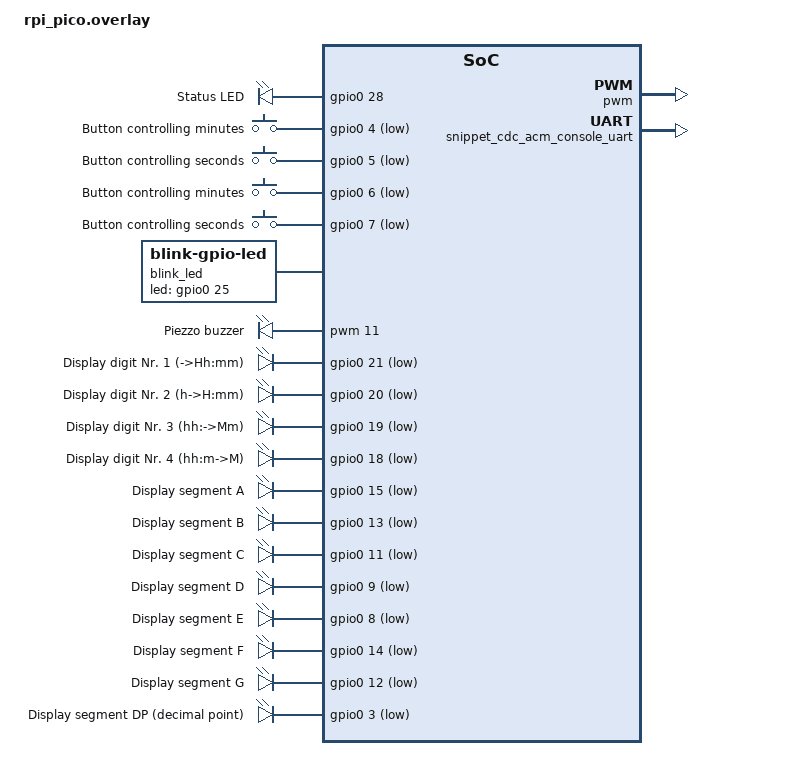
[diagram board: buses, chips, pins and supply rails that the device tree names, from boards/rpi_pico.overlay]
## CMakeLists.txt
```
#-------------------------------------------------------------------------------
# Zephyr Example Application
#
# Copyright (c) 2021 Nordic Semiconductor ASA
# SPDX-License-Identifier: Apache-2.0

cmake_minimum_required(VERSION 3.13.1)
find_package(Zephyr REQUIRED HINTS $ENV{ZEPHYR_BASE})
project(app LANGUAGES C)
target_sources(app PRIVATE src/main.c)
target_sources(app PRIVATE src/timer.c)
target_sources(app PRIVATE src/event_handler.c)
target_sources(app PRIVATE src/display_driver.c)
target_sources(app PRIVATE src/sound_player.c)
include_directories(${CMAKE_CURRENT_SOURCE_DIR}/src)
```

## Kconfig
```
# Copyright (c) 2021 Nordic Semiconductor ASA
# SPDX-License-Identifier: Apache-2.0
#
# This file is the application Kconfig entry point. All application Kconfig
# options can be defined here or included via other application Kconfig files.
# You can browse these options using the west targets menuconfig (terminal) or
# guiconfig (GUI).

menu "Zephyr"
source "Kconfig.zephyr"
# USB communication
config USB_PID_CONSOLE_SAMPLE
    hex
    default 0x0004
    depends on USB_DEVICE_STACK
config USB_DEVICE_PID
    default USB_PID_CONSOLE_SAMPLE
endmenu

# Display settings
menu "Display"
config DISPLAY_FPS
    int "Display frames per seconds"
    default 24
    help
        Defines the display fps (frames per second)
endmenu

# Sound settings
menu "Sound"
config SOUND_MSG_NUMBER
    int "Number of sound events that can be stored in queue"
    default 20
    help
        Number of sound events that can be stored in queue
endmenu

# Button settings
menu "Buttons"
config LONGPRESS_DURATION_MS
    int "Minimal longpress duration in ms"
    default 1000
    help
        Sets the minimal time required for longpress recognition
endmenu

# Logging modules
module = MAIN
module-str = main
source "subsys/logging/Kconfig.template.log_config"

module = EVENTS
module-str = events
source "subsys/logging/Kconfig.template.log_config"

module = DISPLAY
module-str = display
source "subsys/logging/Kconfig.template.log_config"

module = TIMER
module-str = timer
source "subsys/logging/Kconfig.template.log_config"

module = SOUND
module-str = sound
source "subsys/logging/Kconfig.template.log_config"
```

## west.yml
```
# Copyright (c) 2021 Nordic Semiconductor ASA
# SPDX-License-Identifier: Apache-2.0

manifest:
  self:
    west-commands: scripts/west-commands.yml

  remotes:
    - name: zephyrproject-rtos
      url-base: https://github.com/zephyrproject-rtos
    - name: kitchen_timer
      url-base: https://github.com/krystofh/kitchen_timer

  projects:
    - name: zephyr
      remote: zephyrproject-rtos
      revision: main
      import:
        # By using name-allowlist we can clone only the modules that are
        # strictly needed by the application.
        name-allowlist:
          - cmsis      # required by the ARM port
          - hal_nordic # required by the custom_plank board (Nordic based)
          - hal_stm32  # required by the nucleo_f302r8 board (STM32 based)
          - hal_rpi_pico # required by RP Pico
```

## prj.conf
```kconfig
# Copyright (c) 2021 Nordic Semiconductor ASA
# SPDX-License-Identifier: Apache-2.0
#
# This file contains selected Kconfig options for the application.

# User-defined
CONFIG_SOUND_MSG_NUMBER=20
CONFIG_DISPLAY_FPS=50
CONFIG_LONGPRESS_DURATION_MS=1000
# General
CONFIG_GPIO=y
# Enable logging in Zephyr
CONFIG_LOG=y                # Enable the logging subsystem
CONFIG_LOG_DEFAULT_LEVEL=3
# Enable pwm
CONFIG_PWM=y
# Configure USB communication and console
# VID=USB vendor ID, use a random number
CONFIG_USB_DEVICE_STACK=y
CONFIG_USB_DEVICE_PRODUCT="TimeUp kitchen timer"
CONFIG_USB_DEVICE_VID=0xFFFF
CONFIG_USB_DEVICE_PID=0x0001
CONFIG_SERIAL=y
CONFIG_CONSOLE=y
CONFIG_UART_CONSOLE=y
CONFIG_UART_LINE_CTRL=y
CONFIG_SHELL_BACKEND_SERIAL_CHECK_DTR=y
CONFIG_USB_CDC_ACM_LOG_LEVEL_OFF=y
CONFIG_USB_DEVICE_INITIALIZE_AT_BOOT=n

# Enable shell using minimal conf and overlay-usb.confss
CONFIG_PRINTK=y
CONFIG_SHELL=y
CONFIG_SHELL_STACK_SIZE=2048
CONFIG_SHELL_BACKEND_SERIAL=y
# Enable use of built-in shell commands such as clear etc.
CONFIG_SHELL_CMDS=y
# Enable use of tab for command completion
CONFIG_SHELL_TAB=y

# Threading
CONFIG_THREAD_MONITOR=y
CONFIG_INIT_STACKS=y
CONFIG_BOOT_BANNER=n
CONFIG_THREAD_NAME=y
CONFIG_CBPRINTF_NANO=y

# POSIX_TIMERS requires an embedded C library while the native USB driver is incompatible with it.
# So let's disable it. Once USB_NATIVE_POSIX supports embedded C libraries this can be removed.
CONFIG_POSIX_API=n
CONFIG_POSIX_TIMERS=n
# DATE_SHELL requires POSIX_TIMERS
CONFIG_DATE_SHELL=n
```

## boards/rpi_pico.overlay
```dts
/*
 * Copyright (c) 2021 Nordic Semiconductor ASA
 * SPDX-License-Identifier: Apache-2.0
 */

/* This devicetree overlay file will be automatically picked by the Zephyr
 * build system when building the sample for the RP Pico. It shows
 * how the example-application can be built on sample boards already provided
 * by Zephyr.
 */
/{
	aliases {
		btn0 = &button0; // Button A
		btn1 = &button1; // Button B
		btn2 = &button2; // Button C
		btn3 = &button3; // Button D
		led = &status_led;
		buzzer-dev = &buzzer;
	};

	leds{
		compatible = "gpio-leds";
		status_led:status-led{
			gpios = <&gpio0 28 GPIO_ACTIVE_HIGH>;
			label = "Status LED";
		};
	};

	buttons {
        compatible = "gpio-keys";  // Compatible with gpio-keys driver
		debounce-interval-ms = <50>;
        button0: button_a {
            gpios = < &gpio0 4 (GPIO_PULL_UP | GPIO_ACTIVE_LOW) >;
            label = "Button controlling minutes";
        };
		button1: button_b {
            gpios = < &gpio0 5 (GPIO_PULL_UP | GPIO_ACTIVE_LOW) >;
            label = "Button controlling seconds";
        };
		button2: button_c {
            gpios = < &gpio0 6 (GPIO_PULL_UP | GPIO_ACTIVE_LOW) >;
            label = "Button controlling minutes";
        };
		button3: button_d {
            gpios = < &gpio0 7 (GPIO_PULL_UP | GPIO_ACTIVE_LOW) >;
            label = "Button controlling seconds";
        };
    };

	blink_led: blink-led {
		compatible = "blink-gpio-led";
		led-gpios = <&gpio0 25 GPIO_ACTIVE_HIGH>; // built-in LED (unavailable on Pico W)
		blink-period-ms = <1000>;
	};

	pwmbuzzer {
		compatible = "pwm-leds";
		status = "ok";
		buzzer: buzzer_dev {
			pwms = <&pwm 11 PWM_HZ(880) PWM_POLARITY_NORMAL>;
			label = "Piezzo buzzer";
		};
	};

	display_digits{
		compatible = "gpio-leds";
		d1:d1{
			gpios = <&gpio0 21 GPIO_ACTIVE_LOW>; // active high since common anode display
			label = "Display digit Nr. 1 (->Hh:mm)";
		};
		d2:d2{
			gpios = <&gpio0 20 GPIO_ACTIVE_LOW>; 
			label = "Display digit Nr. 2 (h->H:mm)";
		};
		d3:d3{
			gpios = <&gpio0 19 GPIO_ACTIVE_LOW>;
			label = "Display digit Nr. 3 (hh:->Mm)";
		};
		d4:d4{
			gpios = <&gpio0 18 GPIO_ACTIVE_LOW>;
			label = "Display digit Nr. 4 (hh:m->M)";
		};
	};

	display_segments{
		compatible = "gpio-leds";
		sega:seg_a{
			gpios = <&gpio0 15 GPIO_ACTIVE_LOW>; // active low since common anode display
			label = "Display segment A";
		};
		segb:seg_b{
			gpios = <&gpio0 13 GPIO_ACTIVE_LOW>; 
			label = "Display segment B";
		};
		segc:seg_c{
			gpios = <&gpio0 11 GPIO_ACTIVE_LOW>;
			label = "Display segment C";
		};
		segd:seg_d{
			gpios = <&gpio0 9 GPIO_ACTIVE_LOW>;
			label = "Display segment D";
		};
		sege:seg_e{
			gpios = <&gpio0 8 GPIO_ACTIVE_LOW>;
			label = "Display segment E";
		};
		segf:seg_f{
			gpios = <&gpio0 14 GPIO_ACTIVE_LOW>;
			label = "Display segment F";
		};
		segg:seg_g{
			gpios = <&gpio0 12 GPIO_ACTIVE_LOW>;
			label = "Display segment G";
		};
		segdp:seg_dp{
			gpios = <&gpio0 3 GPIO_ACTIVE_LOW>;
			label = "Display segment DP (decimal point)";
		};
	};
};

&gpio0 {
	status = "okay";
};

// Edit the PWM division, based on example blinky_pwm for RP Pico
&pwm {
	status = "okay";
	divider-frac-4 = <15>;
	divider-int-4 = <255>;
};

/* Shell console using USB
*
*/
/ {
	chosen {
		zephyr,console = &snippet_cdc_acm_console_uart;
		zephyr,shell-uart = &snippet_cdc_acm_console_uart;
	};
};

&zephyr_udc0 {
	snippet_cdc_acm_console_uart: snippet_cdc_acm_console_uart {
		compatible = "zephyr,cdc-acm-uart";
	};
};
```

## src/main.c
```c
/*
 * Copyright (c) 2016 Intel Corporation
 *
 * SPDX-License-Identifier: Apache-2.0
 */

#include <stdio.h>
#include <string.h>
#include <stdlib.h>
#include <ctype.h>

// Zephyr-specific libs
#include <zephyr/kernel.h>
#include <zephyr/drivers/gpio.h>
#include <zephyr/logging/log.h>
#include <zephyr/sys/printk.h>
#include <zephyr/sys/util.h>
#include <zephyr/usb/usb_device.h>
#include <zephyr/drivers/uart.h>
#include <zephyr/drivers/pwm.h>
// Shell libs
#include <zephyr/kernel.h>
#include <zephyr/shell/shell.h>
#include <zephyr/version.h>

// Own code
#include "display_driver.h"
#include "timer.h"
#include "event_handler.h"
#include "sound_player.h"

/* 1000 msec = 1 sec */
#define SLEEP_TIME_MS 20
// Define the alias for the onboard LED
#define STATUS_LED_NODE DT_NODELABEL(status_led)
/*
 * Ensure that an overlay for USB serial has been defined.
 */
BUILD_ASSERT(DT_NODE_HAS_COMPAT(DT_CHOSEN(zephyr_console), zephyr_cdc_acm_uart),
			 "Console device is not ACM CDC UART device");

LOG_MODULE_REGISTER(main, CONFIG_MAIN_LOG_LEVEL); // registers the log level for the module MAIN specified in Kconfig

const struct gpio_dt_spec status_led = GPIO_DT_SPEC_GET(STATUS_LED_NODE, gpios); // onboard LED device
const struct pwm_dt_spec buzzer = PWM_DT_SPEC_GET(DT_ALIAS(buzzer_dev));		 // buzzer for sound

// initialise all LED devices
int init_leds()
{
	int ret;
	if (!gpio_is_ready_dt(&status_led))
	{
		return 1;
	}
	ret = gpio_pin_configure_dt(&status_led, GPIO_OUTPUT_ACTIVE);
	if (ret < 0)
	{
		return 1;
	}
	return 0;
}

int main(void)
{
	LOG_INF("Program starting\n"); // example info message

	// Init sound
	init_sound(&buzzer);

	// Init the LED devices in logic 1 state
	if (init_leds())
	{
		LOG_ERR("LEDs could not be initialised!");
	}
	else
	{
		LOG_INF("LED devices initialised properly");
	}

	// Shell config
	const struct device *dev;
	uint32_t dtr = 0;
	dev = DEVICE_DT_GET(DT_CHOSEN(zephyr_shell_uart));
	if (!device_is_ready(dev) || usb_enable(NULL))
	{
		return 0;
	}
	uart_line_ctrl_get(dev, UART_LINE_CTRL_DTR, &dtr);
	k_sleep(K_MSEC(100));
	LOG_INF("USB device configured and connected");

	// Button config
	if (init_buttons())
	{
		LOG_ERR("Button init failed!");
	}
	else
	{
		LOG_INF("Button init successful!");
	}

	// Display init
	if (init_display())
	{
		LOG_ERR("Display init failed!");
	}
	else
	{
		LOG_INF("Display init successful!");
	}

	// Wait in this loop for shell commands or process messages
	while (true)
	{
		/* If we have an LED, match its state to the button's. */
		k_msleep(SLEEP_TIME_MS); /* sleep x ms*/
	}
	return 0;
}
```

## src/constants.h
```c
#ifndef CONSTANTS_H
#define CONSTANTS_H

#include <stdlib.h>

typedef struct time_t
{
    uint8_t minutes;
    uint8_t seconds;
};

#endif // CONSTANTS_H
```

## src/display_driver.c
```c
#include "display_driver.h"

#define STACK_SIZE 1024
#define DISP_THREAD_PRIORITY 5

LOG_MODULE_REGISTER(display, CONFIG_DISPLAY_LOG_LEVEL);

// Digits GPIO configuration (active high)
const struct gpio_dt_spec digit_1 = GPIO_DT_SPEC_GET(DT_NODELABEL(d1), gpios);
const struct gpio_dt_spec digit_2 = GPIO_DT_SPEC_GET(DT_NODELABEL(d2), gpios);
const struct gpio_dt_spec digit_3 = GPIO_DT_SPEC_GET(DT_NODELABEL(d3), gpios);
const struct gpio_dt_spec digit_4 = GPIO_DT_SPEC_GET(DT_NODELABEL(d4), gpios);

// Segment GPIO configuration (active low)
const struct gpio_dt_spec seg_a = GPIO_DT_SPEC_GET(DT_NODELABEL(sega), gpios);
const struct gpio_dt_spec seg_b = GPIO_DT_SPEC_GET(DT_NODELABEL(segb), gpios);
const struct gpio_dt_spec seg_c = GPIO_DT_SPEC_GET(DT_NODELABEL(segc), gpios);
const struct gpio_dt_spec seg_d = GPIO_DT_SPEC_GET(DT_NODELABEL(segd), gpios);
const struct gpio_dt_spec seg_e = GPIO_DT_SPEC_GET(DT_NODELABEL(sege), gpios);
const struct gpio_dt_spec seg_f = GPIO_DT_SPEC_GET(DT_NODELABEL(segf), gpios);
const struct gpio_dt_spec seg_g = GPIO_DT_SPEC_GET(DT_NODELABEL(segg), gpios);
const struct gpio_dt_spec seg_dp = GPIO_DT_SPEC_GET(DT_NODELABEL(segdp), gpios);

// Digits and segments
const struct gpio_dt_spec *digits[] = {&digit_1, &digit_2, &digit_3, &digit_4};
const struct gpio_dt_spec *segments[] = {&seg_a, &seg_b, &seg_c, &seg_d, &seg_e, &seg_f, &seg_g, &seg_dp};
// Buffer to store the current digits to display
uint8_t display_buffer[4] = {0, 0, 0, 0};

// Digit encoding
// 7-segment encoding for digits 0-9
const uint8_t digit_codes[10] = {
    0b00111111, // 0
    0b00000110, // 1
    0b01011011, // 2
    0b01001111, // 3
    0b01100110, // 4
    0b01101101, // 5
    0b01111101, // 6
    0b00000111, // 7
    0b01111111, // 8
    0b01101111  // 9
};

// Spawn thread
K_THREAD_DEFINE(display_refresh_tid, STACK_SIZE, display_refresh_thread, NULL, NULL, NULL,
                DISP_THREAD_PRIORITY, 0, 0);

// Initialize the display GPIOs
int init_display()
{
    int ret;

    // Configure digit GPIOs
    ret = gpio_pin_configure_dt(&digit_1, GPIO_OUTPUT_INACTIVE);
    if (ret != 0)
        return ret;

    ret = gpio_pin_configure_dt(&digit_2, GPIO_OUTPUT_INACTIVE);
    if (ret != 0)
        return ret;

    ret = gpio_pin_configure_dt(&digit_3, GPIO_OUTPUT_INACTIVE);
    if (ret != 0)
        return ret;

    ret = gpio_pin_configure_dt(&digit_4, GPIO_OUTPUT_INACTIVE);
    if (ret != 0)
        return ret;

    // Configure segment GPIOs
    ret = gpio_pin_configure_dt(&seg_a, GPIO_OUTPUT_INACTIVE);
    if (ret != 0)
        return ret;

    ret = gpio_pin_configure_dt(&seg_b, GPIO_OUTPUT_INACTIVE);
    if (ret != 0)
        return ret;

    ret = gpio_pin_configure_dt(&seg_c, GPIO_OUTPUT_INACTIVE);
    if (ret != 0)
        return ret;

    ret = gpio_pin_configure_dt(&seg_d, GPIO_OUTPUT_INACTIVE);
    if (ret != 0)
        return ret;

    ret = gpio_pin_configure_dt(&seg_e, GPIO_OUTPUT_INACTIVE);
    if (ret != 0)
        return ret;

    ret = gpio_pin_configure_dt(&seg_f, GPIO_OUTPUT_INACTIVE);
    if (ret != 0)
        return ret;

    ret = gpio_pin_configure_dt(&seg_g, GPIO_OUTPUT_INACTIVE);
    if (ret != 0)
        return ret;

    ret = gpio_pin_configure_dt(&seg_dp, GPIO_OUTPUT_INACTIVE);
    if (ret != 0)
        return ret;

    LOG_INF("Display initialized");
    return 0;
}

void display_refresh_thread()
{
    while (1)
    {
        for (uint8_t i = 0; i < ARRAY_SIZE(digits); i++)
        {
            display_digit(display_buffer[i], i);
            k_sleep(K_MSEC(1000 / (ARRAY_SIZE(digits) * CONFIG_DISPLAY_FPS))); // period [ms]
        }
    }
}

// Simple demo showing sequentially all segments on all digits
int display_demo()
{
    bool enable_shutdown = false;
    // Iterate through each digit in digits
    for (int i = 0; i < ARRAY_SIZE(digits); i++)
    {
        // Turn off all segemnts first
        for (int m = 0; m < ARRAY_SIZE(segments); m++)
        {
            gpio_pin_set_dt(segments[m], 0);
        }

        // Turn off all digits first to prevent ghosting
        for (int j = 0; j < ARRAY_SIZE(digits); j++)
        {
            gpio_pin_set_dt(digits[j], 0);
        }

        // Activate current digit
        int response = gpio_pin_set_dt(digits[i], 1);

        // Light up each segment (A to G, DP) sequentially
        response = gpio_pin_set_dt(&seg_a, 1); // try out segment A
        k_sleep(K_MSEC(1000));
        if (enable_shutdown)
        {
            gpio_pin_set_dt(&seg_a, 0);
        };
        response = gpio_pin_set_dt(&seg_b, 1); // try out segment
        k_sleep(K_MSEC(1000));
        if (enable_shutdown)
        {
            response = gpio_pin_set_dt(&seg_b, 0); // try out segment
        };
        response = gpio_pin_set_dt(&seg_c, 1); // try out segment
        k_sleep(K_MSEC(1000));
        if (enable_shutdown)
        {
            response = gpio_pin_set_dt(&seg_c, 0); // try out segment
        };
        response = gpio_pin_set_dt(&seg_d, 1); // try out segment
        k_sleep(K_MSEC(1000));
        if (enable_shutdown)
        {
            response = gpio_pin_set_dt(&seg_d, 0); // try out segment
        };
        response = gpio_pin_set_dt(&seg_e, 1); // try out segment
        k_sleep(K_MSEC(1000));
        if (enable_shutdown)
        {
            response = gpio_pin_set_dt(&seg_e, 0); // try out segment
        }
        response = gpio_pin_set_dt(&seg_f, 1); // try out segment
        k_sleep(K_MSEC(1000));
        if (enable_shutdown)
        {
            response = gpio_pin_set_dt(&seg_f, 0); // try out segment
        }
        response = gpio_pin_set_dt(&seg_g, 1); // try out segment
        k_sleep(K_MSEC(1000));
        if (enable_shutdown)
        {
            response = gpio_pin_set_dt(&seg_g, 0); // try out segment
        }
        response = gpio_pin_set_dt(&seg_dp, 1); // try out segment
        k_sleep(K_MSEC(1000));
        if (enable_shutdown)
        {
            response = gpio_pin_set_dt(&seg_dp, 0); // try out segment
        };
    }
    return 0;
}

// Display a diven digit
// index - 0 to 3,  HH:MM
void display_digit(uint8_t digit, uint8_t index)
{
    reset_display(); // make sure only one digit is displayed at a time
    // prepare the digit's index (select the 8-bit segment)
    gpio_pin_set_dt(digits[index], 1);
    // draw the digit
    uint8_t temp_bin = digit_codes[digit];             // binary representation of digit
    for (uint8_t i = 0; i < ARRAY_SIZE(segments); i++) // go through one segment (bit) after the other
    {
        gpio_pin_set_dt(segments[i], temp_bin % 2); // if the bit is 1 -> set the segment ACTIVE
        temp_bin = temp_bin >> 1;                   // right shift after the bit is processed
    }
}

// Set the value to be displayed on the 4-digit display
void set_display_value(uint16_t value)
{
    // Convert the integer value to individual digits
    display_buffer[0] = (value / 1000) % 10;
    display_buffer[1] = (value / 100) % 10;
    display_buffer[2] = (value / 10) % 10;
    display_buffer[3] = value % 10;
}

// Checks if number is valid and sets it to the buffer for being regurarly refreshed
void display_number(uint16_t number)
{
    if (number < 10000)
    {
        set_display_value(number);
    }
    else
    {
        LOG_ERR("Can't display numbers > 9999");
    }
}

void display_time(timevar_t *displayed_time)
{
    LOG_INF("Setting time to: %d : %d ", displayed_time->minutes, displayed_time->seconds);
    set_display_value(displayed_time->minutes * 100 + displayed_time->seconds);
}

// Reset (set INACTIVE) all segments of the current position(s)
void reset_segments(void)
{
    for (uint8_t i = 0; i < ARRAY_SIZE(segments); i++) // go through one segment (bit) after the other
    {
        gpio_pin_set_dt(segments[i], 0);
    }
}

// Reset (set INACTIVE) all digits (positions)
void reset_display()
{
    reset_segments();
    for (uint8_t i = 0; i < ARRAY_SIZE(digits); i++)
    {
        gpio_pin_set_dt(digits[i], 0);
    }
}
```

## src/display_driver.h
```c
#ifndef DISPLAY_DRIVER_H
#define DISPLAY_DRIVER_H

#include <zephyr/kernel.h>
#include <zephyr/drivers/gpio.h>
#include <zephyr/shell/shell.h>
#include <zephyr/logging/log.h>
#include <stdlib.h>
#include "timer.h"

#define DIGIT_DISPLAY_TIME_MS 5 // Time to display each digit

extern const struct gpio_dt_spec digit_1;
extern const struct gpio_dt_spec digit_2;
extern const struct gpio_dt_spec digit_3;
extern const struct gpio_dt_spec digit_4;

// Segment GPIO configuration (active low)
extern const struct gpio_dt_spec seg_a;
extern const struct gpio_dt_spec seg_b;
extern const struct gpio_dt_spec seg_c;
extern const struct gpio_dt_spec seg_d;
extern const struct gpio_dt_spec seg_e;
extern const struct gpio_dt_spec seg_f;
extern const struct gpio_dt_spec seg_g;
extern const struct gpio_dt_spec seg_dp;

// Digits and segments
extern const struct gpio_dt_spec *digits[];
extern const struct gpio_dt_spec *segments[];
extern uint8_t display_buffer[];

// Functions
int init_display(void);
void display_refresh_thread(void);
int display_demo(void);
void display_digit(uint8_t number, uint8_t index);
void set_display_value(uint16_t value);
void display_number(uint16_t number);
void display_time(timevar_t *displayed_time);
void reset_segments(void);
void reset_display(void);

#endif // DISPLAY_DRIVER_H
```

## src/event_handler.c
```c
#include "event_handler.h"

#define DEBOUNCE_TIME_MS 15                            // Debouncing delay in milliseconds
LOG_MODULE_REGISTER(events, CONFIG_LOG_DEFAULT_LEVEL); // Registers the log level for the module

/*
 * Get button configuration from the devicetree alias. This is mandatory.
 */
const struct gpio_dt_spec button_a = GPIO_DT_SPEC_GET_OR(BTN_A_NODE, gpios,
                                                         {0});
const struct gpio_dt_spec button_b = GPIO_DT_SPEC_GET_OR(BTN_B_NODE, gpios,
                                                         {0});
const struct gpio_dt_spec button_c = GPIO_DT_SPEC_GET_OR(BTN_C_NODE, gpios,
                                                         {0});
const struct gpio_dt_spec button_d = GPIO_DT_SPEC_GET_OR(BTN_D_NODE, gpios,
                                                         {0});
struct gpio_callback button_a_cb_data;
struct gpio_callback button_b_cb_data;
struct gpio_callback button_c_cb_data;
struct gpio_callback button_d_cb_data;

static struct k_work_delayable button_a_work;
static struct k_work_delayable button_b_work;
static struct k_work_delayable button_c_work;
static struct k_work_delayable button_d_work;

static struct k_work_delayable longpress_a_work;
static struct k_work_delayable longpress_b_work;
static struct k_work_delayable longpress_c_work;
static struct k_work_delayable longpress_d_work;

/*
 * Array of button structures for all the buttons to be initialized programmatically.
 */
struct button buttons[] = {
    {&button_a, &button_a_cb_data, button_a_isr, "A"},
    {&button_b, &button_b_cb_data, button_b_isr, "B"},
    {&button_c, &button_c_cb_data, button_c_isr, "C"},
    {&button_d, &button_d_cb_data, button_d_isr, "D"}};

// Button A actions on press or release after debounce
static void button_work_a_handler(struct k_work *work)
{
    ARG_UNUSED(work);
    int val = gpio_pin_get_dt(&button_a);
    enum button_evt evt = val ? BUTTON_EVT_PRESSED : BUTTON_EVT_RELEASED;
    // Onpress of debounced button A
    if (evt == BUTTON_EVT_PRESSED)
    {
        play_sound(CLICK_SOUND, 1);
        LOG_INF("Button A pressed at %lld ms", k_uptime_get());
        timer_state current_state = get_state();
        switch (current_state)
        {
        case SLEEPING:
            LOG_INF("Exiting sleep mode. Setting minutes now.");
            set_state(SET_MINUTES);
            inc_minutes();
            break;
        case SET_SECONDS:
            inc_seconds();
            break;
        case SET_MINUTES:
            inc_minutes();
            break;
        case ALARM:
            stop_alarm(); // stops alarm sound on button press
            break;
        default:
            break;
        }
        LOG_INF("Current state: %d", current_state);
        k_work_reschedule(&longpress_a_work, K_MSEC(CONFIG_LONGPRESS_DURATION_MS));
    }
    else
    {
        k_work_cancel_delayable(&longpress_a_work); // on release, clear longpress queue
    }
}

static void longpress_a_work_handler(struct k_work *work)
{
    LOG_INF("long press A detected");
}

// Interrupt service routine for BUTTON A (+)
void button_a_isr(const struct device *dev, struct gpio_callback *cb,
                  uint32_t pins)
{
    // Check if work queue has some pending work (button already being debounced)
    if (k_work_delayable_is_pending(&button_a_work))
    {
        // Cancel ongoing work and reschedule debounce timer to debounce
        k_work_cancel_delayable(&button_a_work);
    }
    // Reschedule debounce work for x ms
    k_work_reschedule(&button_a_work, K_MSEC(DEBOUNCE_TIME_MS));
}

// Button B actions on press or release after debounce
static void button_work_b_handler(struct k_work *work)
{
    ARG_UNUSED(work);
    int val = gpio_pin_get_dt(&button_b);
    enum button_evt evt = val ? BUTTON_EVT_PRESSED : BUTTON_EVT_RELEASED;
    // Onpress of debounced button B
    if (evt == BUTTON_EVT_PRESSED)
    {
        play_sound(CLICK_SOUND, 1);
        LOG_INF("Button B pressed at %lld ms", k_uptime_get());
        timer_state current_state = get_state();
        switch (current_state)
        {
        case SLEEPING:
            LOG_INF("Exiting sleep mode. Setting minutes now.");
            set_state(SET_MINUTES);
            dec_minutes();
            break;
        case SET_SECONDS:
            dec_seconds();
            break;
        case SET_MINUTES:
            dec_minutes();
            break;
        case ALARM:
            stop_alarm(); // stops alarm sound on button press
            break;
        default:
            break;
        }
        LOG_INF("Current state: %d", current_state);
        k_work_reschedule(&longpress_b_work, K_MSEC(CONFIG_LONGPRESS_DURATION_MS));
    }
    else
    {
        k_work_cancel_delayable(&longpress_b_work); // on release, clear longpress queue
    }
}

static void longpress_b_work_handler(struct k_work *work)
{
    LOG_INF("long press B detected");
}

// Interrupt service routine for BUTTON B (-)
void button_b_isr(const struct device *dev, struct gpio_callback *cb,
                  uint32_t pins)
{
    // Check if work queue has some pending work (button already being debounced)
    if (k_work_delayable_is_pending(&button_b_work))
    {
        // Cancel ongoing work and reschedule debounce timer to debounce
        k_work_cancel_delayable(&button_b_work);
    }
    // Reschedule debounce work for x ms
    k_work_reschedule(&button_b_work, K_MSEC(DEBOUNCE_TIME_MS));
}

// Button C actions on press or release after debounce
static void button_work_c_handler(struct k_work *work)
{
    ARG_UNUSED(work);
    int val = gpio_pin_get_dt(&button_c);
    enum button_evt evt = val ? BUTTON_EVT_PRESSED : BUTTON_EVT_RELEASED;
    // Onpress of debounced button C
    if (evt == BUTTON_EVT_PRESSED)
    {
        LOG_INF("Button C pressed at %lld ms", k_uptime_get());
        timer_state current_state = get_state();
        switch (current_state)
        {
        case ALARM:
            stop_alarm(); // stops alarm sound on button press
            break;
        case COUNTDOWN:
            stop_timer(); // pause timer
            break;
        case SLEEPING:
            run_timer();
            break;
        default:
            run_timer(); // start timer
            break;
        }
        LOG_INF("Current state: %d", current_state);
        k_work_reschedule(&longpress_c_work, K_MSEC(CONFIG_LONGPRESS_DURATION_MS));
    }
    else
    {
        k_work_cancel_delayable(&longpress_c_work); // on release, clear longpress queue
    }
}

// On long press of button C
static void longpress_c_work_handler(struct k_work *work)
{
    reset_time();
}

// Interrupt service routine for BUTTON C
void button_c_isr(const struct device *dev, struct gpio_callback *cb,
                  uint32_t pins)
{
    // Check if work queue has some pending work (button already being debounced)
    if (k_work_delayable_is_pending(&button_c_work))
    {
        // Cancel ongoing work and reschedule debounce timer to debounce
        k_work_cancel_delayable(&button_c_work);
    }
    // Reschedule debounce work for x ms
    k_work_reschedule(&button_c_work, K_MSEC(DEBOUNCE_TIME_MS));
}

// Button D actions on press or release after debounce
static void button_work_d_handler(struct k_work *work)
{
    ARG_UNUSED(work);
    int val = gpio_pin_get_dt(&button_d);
    enum button_evt evt = val ? BUTTON_EVT_PRESSED : BUTTON_EVT_RELEASED;
    // Onpress of debounced button D
    if (evt == BUTTON_EVT_PRESSED)
    {
        play_sound(MODE_SOUND, 1);
        LOG_INF("Button D pressed at %lld ms", k_uptime_get());
        timer_state current_state = get_state();
        switch (current_state)
        {
        case SLEEPING:
            LOG_INF("Exiting sleep mode. Setting seconds now.");
            set_state(SET_SECONDS);
            break;
        case SET_SECONDS:
            LOG_INF("Setting minutes now.");
            set_state(SET_MINUTES);
            break;
        case SET_MINUTES:
            LOG_INF("Setting seconds now.");
            set_state(SET_SECONDS);
            break;
        case ALARM:
            stop_alarm(); // stops alarm sound on button press
            break;
        default:
            break;
        }
        LOG_INF("Current state: %d", current_state);
        k_work_reschedule(&longpress_d_work, K_MSEC(CONFIG_LONGPRESS_DURATION_MS));
    }
    else
    {
        k_work_cancel_delayable(&longpress_d_work); // on release, clear longpress queue
    }
}

static void longpress_d_work_handler(struct k_work *work)
{
    LOG_INF("long press D detected");
}

// Interrupt service routine for BUTTON D
void button_d_isr(const struct device *dev, struct gpio_callback *cb,
                  uint32_t pins)
{
    // Check if work queue has some pending work (button already being debounced)
    if (k_work_delayable_is_pending(&button_d_work))
    {
        // Cancel ongoing work and reschedule debounce timer to debounce
        k_work_cancel_delayable(&button_d_work);
    }
    // Reschedule debounce work for x ms
    k_work_reschedule(&button_d_work, K_MSEC(DEBOUNCE_TIME_MS));
}

// Generalized function to initialize a button
int init_button(const struct button *btn)
{
    int ret;
    if (!gpio_is_ready_dt(btn->spec))
    {
        LOG_ERR("Error: button device %s is not ready", btn->spec->port->name);
        return 1;
    }

    ret = gpio_pin_configure_dt(btn->spec, GPIO_INPUT);
    if (ret != 0)
    {
        LOG_ERR("Error %d: failed to configure %s pin %d", ret, btn->spec->port->name, btn->spec->pin);
        return 1;
    }

    ret = gpio_pin_interrupt_configure_dt(btn->spec, GPIO_INT_EDGE_BOTH);
    if (ret != 0)
    {
        LOG_ERR("Error %d: failed to configure interrupt on %s pin %d", ret, btn->spec->port->name, btn->spec->pin);
        return 1;
    }

    gpio_init_callback(btn->cb_data, btn->cb_handler, BIT(btn->spec->pin));
    gpio_add_callback(btn->spec->port, btn->cb_data);
    LOG_INF("Set up button at %s pin %d", btn->spec->port->name, btn->spec->pin);
    return 0;
}

// Initialise buttons
int init_buttons(void)
{
    int ret = 0;
    for (size_t i = 0; i < ARRAY_SIZE(buttons); i++)
    {
        ret = init_button(&buttons[i]);
        if (ret != 0)
        {
            LOG_ERR("Button initialization failed for button %zu", i);
        }
    }

    // Init works
    k_work_init_delayable(&button_a_work, button_work_a_handler);
    k_work_init_delayable(&button_b_work, button_work_b_handler);
    k_work_init_delayable(&button_c_work, button_work_c_handler);
    k_work_init_delayable(&button_d_work, button_work_d_handler);

    k_work_init_delayable(&longpress_a_work, longpress_a_work_handler);
    k_work_init_delayable(&longpress_b_work, longpress_b_work_handler);
    k_work_init_delayable(&longpress_c_work, longpress_c_work_handler);
    k_work_init_delayable(&longpress_d_work, longpress_d_work_handler);

    return ret;
}
```

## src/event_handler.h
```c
#ifndef EVENT_HANDLER_H
#define EVENT_HANDLER_H

#include <zephyr/kernel.h>
#include <zephyr/device.h>
#include <zephyr/drivers/gpio.h>
#include <zephyr/sys/util.h>
#include <zephyr/sys/printk.h>
#include <zephyr/logging/log.h>
#include <inttypes.h>

#include "timer.h"
#include "sound_player.h"

#define BTN_A_NODE DT_ALIAS(btn0)
#if !DT_NODE_HAS_STATUS_OKAY(BTN_A_NODE)
#error "Unsupported board: btn0 devicetree alias is not defined"
#endif
#define BTN_B_NODE DT_ALIAS(btn1)
#if !DT_NODE_HAS_STATUS_OKAY(BTN_B_NODE)
#error "Unsupported board: btn1 devicetree alias is not defined"
#endif
#define BTN_C_NODE DT_ALIAS(btn2)
#if !DT_NODE_HAS_STATUS_OKAY(BTN_C_NODE)
#error "Unsupported board: btn2 devicetree alias is not defined"
#endif
#define BTN_D_NODE DT_ALIAS(btn3)
#if !DT_NODE_HAS_STATUS_OKAY(BTN_D_NODE)
#error "Unsupported board: btn3 devicetree alias is not defined"
#endif

enum button_evt
{
    BUTTON_EVT_PRESSED,
    BUTTON_EVT_RELEASED
};

/*
 * Button structure to hold the GPIO configuration and callback data.
 */
struct button
{
    const struct gpio_dt_spec *spec;    // GPIO spec from device tree
    struct gpio_callback *cb_data;      // Callback structure
    gpio_callback_handler_t cb_handler; // Callback function
    const char *label;                  // Button label (e.g., "Button A")
};

extern const struct gpio_dt_spec button_a;
extern struct gpio_callback button_a_cb_data;
extern const struct gpio_dt_spec button_b;
extern struct gpio_callback button_b_cb_data;
extern const struct gpio_dt_spec button_c;
extern struct gpio_callback button_c_cb_data;
extern const struct gpio_dt_spec button_d;
extern struct gpio_callback button_d_cb_data;

// Function declarations

static void button_work_a_handler(struct k_work *work);
static void button_work_b_handler(struct k_work *work);
static void button_work_c_handler(struct k_work *work);
static void button_work_d_handler(struct k_work *work);

static void longpress_a_work_handler(struct k_work *work);
static void longpress_b_work_handler(struct k_work *work);
static void longpress_c_work_handler(struct k_work *work);
static void longpress_d_work_handler(struct k_work *work);

void button_a_isr(const struct device *dev, struct gpio_callback *cb, uint32_t pins);
void button_b_isr(const struct device *dev, struct gpio_callback *cb,
                  uint32_t pins);
void button_c_isr(const struct device *dev, struct gpio_callback *cb,
                  uint32_t pins);
void button_d_isr(const struct device *dev, struct gpio_callback *cb,
                  uint32_t pins);
int init_buttons(void);

#endif // EVENT_HANDLER_H
```

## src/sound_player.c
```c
#include "sound_player.h"
#include "tones.h" // for music notation

#define SOUND_STACK 1024
#define SOUND_THREAD_PRIORITY 7 // low priority

LOG_MODULE_REGISTER(sound, CONFIG_LOG_DEFAULT_LEVEL); // Registers the log level for the module

// Speaker (PWM device) used globally
static const struct pwm_dt_spec *speaker;

// Sounds
const int click_notes[] = {A5, 0};
const int click_durations[] = {100, 50};
const int confirm_notes[] = {A4, A5};
const int confirm_durations[] = {100, 100};
const int mode_notes[] = {D5, 0};
const int mode_durations[] = {100, 50};
const int alarm_notes[] = {A5, 0, A5, 0, A5, 0};
const int alarm_durations[] = {150, 150, 150, 150, 150, 150};
const int reset_notes[] = {A5, A4};
const int reset_durations[] = {100, 100};
const int stop_notes[] = {E4, 0};
const int stop_durations[] = {100, 50};

// Define message queue for handling sound events
K_MSGQ_DEFINE(sound_queue, CONFIG_SOUND_MSG_NUMBER, CONFIG_SOUND_MSG_NUMBER, 1); // sizeof(SoundEvent) 1 byte -> bytesize=number of messages

// Spawn thread for sound output
K_THREAD_DEFINE(sound_player_tid, SOUND_STACK, sound_processing_thread,
                NULL, NULL, NULL, SOUND_THREAD_PRIORITY, 0, 0);

// Define Sound structs for each sound
static const Sound sounds[] = {
    {click_notes, click_durations, sizeof(click_notes) / sizeof(click_notes[0])}, // SOUND_CLICK
    {confirm_notes, confirm_durations, sizeof(confirm_notes) / sizeof(confirm_durations[0])},
    {mode_notes, mode_durations, sizeof(mode_notes) / sizeof(mode_notes[0])},
    {alarm_notes, alarm_durations, sizeof(alarm_notes) / sizeof(alarm_notes[0])}, // SOUND_ALARM
    {reset_notes, reset_durations, sizeof(reset_notes) / sizeof(reset_notes[0])}, // SOUND_RESET
    {stop_notes, stop_durations, sizeof(stop_notes) / sizeof(stop_notes[0])},
};

void sound_processing_thread()
{
    SoundEvent sound_event;
    int ret_code;
    while (1)
    {
        ret_code = k_msgq_get(&sound_queue, &sound_event, K_FOREVER); // receive the sound message
        if (!ret_code)
        {
            Sound *sound = &sounds[sound_event.sound]; // init a pointer to the sound
            // Play sound
            play_tune(sound->notes, sound->note_durations, sound->length);
        }
        else
        {
            LOG_ERR("Error playing sound");
        }
        k_sleep(K_MSEC(100));
    }
}

void init_sound(const struct pwm_dt_spec *pwm_device)
{
    speaker = pwm_device;
    play_sound(CONFIRM_SOUND, 1);
}

void play_note(int frequency, int duration_ms)
{
    if (!frequency)
    {
        pwm_set_pulse_dt(speaker, 0); // turn off note
        k_sleep(K_MSEC(duration_ms));
    }
    else
    {
        pwm_set_dt(speaker, PWM_HZ(frequency), PWM_HZ(frequency) / 2U);
        k_sleep(K_MSEC(duration_ms));
        pwm_set_pulse_dt(speaker, 0); // turn off note
    }
}

// Play function
void play_tune(int *notes, int *durations, int length)
{
    for (int i = 0; i < length; i++)
    {
        play_note(notes[i], durations[i]);
    }
}

// Play sound
void play_sound(SoundID sound_id, uint16_t repetitions)
{
    SoundEvent new_sound_event = {sound_id};
    uint16_t counter = 0;
    int return_code;
    while (counter < repetitions)
    {
        // put the sound to queue
        return_code = k_msgq_put(&sound_queue, &new_sound_event, K_NO_WAIT);
        if (return_code != 0)
        {
            LOG_ERR("Sound events MSGQ full or some other error!");
        }
        ++counter;
    }
}
```

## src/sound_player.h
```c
#ifndef SOUND_PLAYER_H
#define SOUND_PLAYER_H

#include <stdlib.h>
#include <zephyr/drivers/pwm.h>
#include <zephyr/kernel.h>
#include <zephyr/logging/log.h>

typedef struct
{
    const int *notes;
    const int *note_durations;
    const int length; // number of notes
} Sound;

// Enum to identify each sound by name
typedef enum
{
    CLICK_SOUND,
    CONFIRM_SOUND,
    MODE_SOUND,
    ALARM_SOUND,
    RESET_SOUND,
    STOP_SOUND
} SoundID;

typedef struct
{
    SoundID sound;
} SoundEvent;

void sound_processing_thread(void);
void init_sound(const struct pwm_dt_spec *pwm_device);
// Play functions
void play_note(int frequency, int duration_ms);
void play_tune(int *notes, int *durations, int length);
void play_sound(SoundID sound_id, uint16_t repetitions);

#endif
```

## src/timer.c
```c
#include "timer.h"

#define TIMER_STACK 1024
#define TIMER_THREAD_PRIORITY 4

LOG_MODULE_REGISTER(timer, CONFIG_LOG_DEFAULT_LEVEL); // Registers the log level for the module

static struct k_work_delayable timer_work;
static struct k_work_delayable alarm_work;

// Time logic
timevar_t set_time = {0, 0};
timevar_t current_time = {0, 0};
timer_state current_state = SLEEPING;

// State getters setter
void set_state(timer_state state)
{
    current_state = state;
}

timer_state get_state()
{
    return current_state;
}

// Time functions
void inc_minutes()
{
    LOG_INF("INC minutes called: %d:%d -> +1", set_time.minutes, set_time.seconds);
    if (set_time.minutes == 99)
    {
        LOG_ERR("Timer can't increase minutes count more than 99!");
    }
    else
    {
        set_time.minutes += 1;
    }
    display_time(&set_time);
}

void dec_minutes()
{
    LOG_INF("DEC minutes called: %d:%d -> -1", set_time.minutes, set_time.seconds);
    if (set_time.minutes == 0)
    {
        LOG_ERR("Timer reached 0 minutes. Can't decrease further!");
    }
    else
    {
        set_time.minutes -= 1;
    }
    display_time(&set_time);
}

void inc_seconds()
{
    LOG_INF("INC seconds called: %d:%d -> +1", set_time.minutes, set_time.seconds);
    if (set_time.seconds == 59)
    {
        inc_minutes();
        set_time.seconds = 0;
    }
    else
    {
        set_time.seconds += 1;
    }
    display_time(&set_time);
}

void dec_seconds()
{
    LOG_INF("DEC seconds called: %d:%d -> -1", set_time.minutes, set_time.seconds);
    if (set_time.seconds > 0)
    {
        set_time.seconds -= 1;
    }
    else // XX:00 set
    {
        if (set_time.minutes > 0)
        { // 01:00 -> 00:59
            dec_minutes();
            set_time.seconds = 59;
        }
        else
        { // 00:00
            LOG_ERR("Timer reached 00:00, can't decrease!");
            if (current_state == COUNTDOWN)
            {
                current_state = ALARM;
                stop_timer();
                sound_alarm(true);
            }
        }
    }
    display_time(&set_time);
}

void sound_alarm(bool forever)
{
    if (forever)
    {
        if (current_state == ALARM) // sound alarm until a button is pressed
        {
            k_work_init_delayable(&alarm_work, alarm_work_handler); // start alarm scheduling
            k_work_schedule(&alarm_work, K_NO_WAIT);
        }
    }
    else
    {
        play_sound(ALARM_SOUND, 3); // play alarm few times and go to sleep
        current_state = SLEEPING;
    }
}

void stop_alarm()
{
    current_state = SLEEPING;
}

void reset_time()
{
    set_time.minutes = 0;
    set_time.seconds = 0;
    display_time(&set_time);
    current_state = SLEEPING; // TODO check if SET_SECONDS is not better
    LOG_INF("Reset performed");
    LOG_INF("Current state: %d", current_state);
    play_sound(RESET_SOUND, 1);
}

// Timer countdown control
void run_timer()
{
    current_state = COUNTDOWN;
    LOG_INF("Countdown started");
    k_work_init_delayable(&timer_work, update_timer); // start timer scheduling
    k_work_schedule(&timer_work, K_MSEC(1000));
    play_sound(CONFIRM_SOUND, 1);
}

void stop_timer()
{
    if (current_state != ALARM)
    {
        play_sound(STOP_SOUND, 1); // do not play when alarm shall play now
        current_state = SLEEPING;  // put to sleep only if not alarm sounding
    }
    k_work_cancel_delayable(&timer_work);
    LOG_INF("Countdown stopped");
}

// Work function that is rescheduled periodically
void update_timer(struct k_work *work)
{
    if (current_state == COUNTDOWN)
    {
        dec_seconds();
        k_work_reschedule(&timer_work, K_MSEC(1000));
    }
}

// work handler to play alarm sound at regular intervals
void alarm_work_handler(struct k_work *work)
{
    if (current_state == ALARM)
    {
        play_sound(ALARM_SOUND, 1);                   // Play the alarm sound
        k_work_reschedule(&alarm_work, K_MSEC(1000)); // Reschedule for 1 second later, must be larger than 1 alarm sound
    }
}

// Shell commands (mainly for development)
void cmd_reset_time(const struct shell *sh, size_t argc, char **argv)
{
    reset_time();
}

void cmd_start_countdown(const struct shell *sh, size_t argc, char **argv)
{
    run_timer();
}

void cmd_stop_countdown(const struct shell *sh, size_t argc, char **argv)
{
    stop_timer();
}

SHELL_CMD_REGISTER(reset, NULL, "Reset timer", cmd_reset_time);
SHELL_CMD_REGISTER(start, NULL, "Starts the timer (countdown)", cmd_start_countdown);
SHELL_CMD_REGISTER(stop, NULL, "Stops the timer (countdown)", cmd_stop_countdown);
```

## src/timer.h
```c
#ifndef TIMER_H
#define TIMER_H

#include <zephyr/kernel.h>
#include <zephyr/shell/shell.h>
#include <zephyr/logging/log.h>
#include <zephyr/shell/shell.h>

#include <stdlib.h>

#include "sound_player.h"

// Time
typedef struct
{
    uint8_t minutes;
    uint8_t seconds;
} timevar_t;

typedef enum
{
    SLEEPING,
    SET_SECONDS,
    SET_MINUTES,
    COUNTDOWN,
    ALARM
} timer_state;

extern timer_state current_state;

// State functions
void set_state(timer_state state);
timer_state get_state(void);
// Time functions
void inc_minutes(void);
void dec_minutes(void);
void inc_seconds(void);
void dec_seconds(void);
void reset_time(void);

// Timer (countdown) control
void run_timer(void);
void stop_timer(void);
void update_timer(struct k_work *work);

// Alarm
void sound_alarm(bool forever);
void stop_alarm(void);
void alarm_work_handler(struct k_work *work);

// Shell commands
void cmd_reset_time(const struct shell *sh, size_t argc, char **argv);
void cmd_start_countdown(const struct shell *sh, size_t argc, char **argv);
#endif // TIMER_H
```

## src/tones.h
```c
#ifndef TONES_H
#define TONES_H

// Define frequencies for standard musical notes
// Octave numbers refer to scientific pitch notation (e.g., A4 = 440 Hz)

// C notes
#define C1  33
#define C2  65
#define C3  131
#define C4  262
#define C5  523
#define C6  1047
#define C7  2093
#define C8  4186

// C# / Db notes
#define CS1 35
#define CS2 69
#define CS3 139
#define CS4 277
#define CS5 554
#define CS6 1109
#define CS7 2217
#define CS8 4435

// D notes
#define D1  37
#define D2  73
#define D3  147
#define D4  294
#define D5  587
#define D6  1175
#define D7  2349
#define D8  4699

// D# / Eb notes
#define DS1 39
#define DS2  78
#define DS3  156
#define DS4  311
#define DS5  622
#define DS6  1245
#define DS7  2489
#define DS8  4978

// E notes
#define E1  41
#define E2  82
#define E3  165
#define E4  330
#define E5  659
#define E6  1319
#define E7  2637
#define E8  5274

// F notes
#define F1  44
#define F2  87
#define F3  175
#define F4  349
#define F5  698
#define F6  1397
#define F7  2794
#define F8  5588

// F# / Gb notes
#define FS1  46
#define FS2  92
#define FS3  185
#define FS4  370
#define FS5  740
#define FS6  1480
#define FS7  2960
#define FS8  5920

// G notes
#define G1  49
#define G2  98
#define G3  196
#define G4  392
#define G5  784
#define G6  1568
#define G7  3136
#define G8  6272

// G# / Ab notes
#define GS1  52
#define GS2  104
#define GS3  208
#define GS4  415
#define GS5  831
#define GS6  1661
#define GS7  3322
#define GS8  6645

// A notes
#define A1  55
#define A2  110
#define A3  220
#define A4  440
#define A5  880
#define A6  1760
#define A7  3520
#define A8  7040

// A# / Bb notes
#define AS1  58
#define AS2  116
#define AS3  233
#define AS4  466
#define AS5  932
#define AS6  1865
#define AS7  3729
#define AS8  7459

// B notes
#define B1  62
#define B2  123
#define B3  247
#define B4  494
#define B5  988
#define B6  1976
#define B7  3951
#define B8  7902

#endif // TONES_H
```
